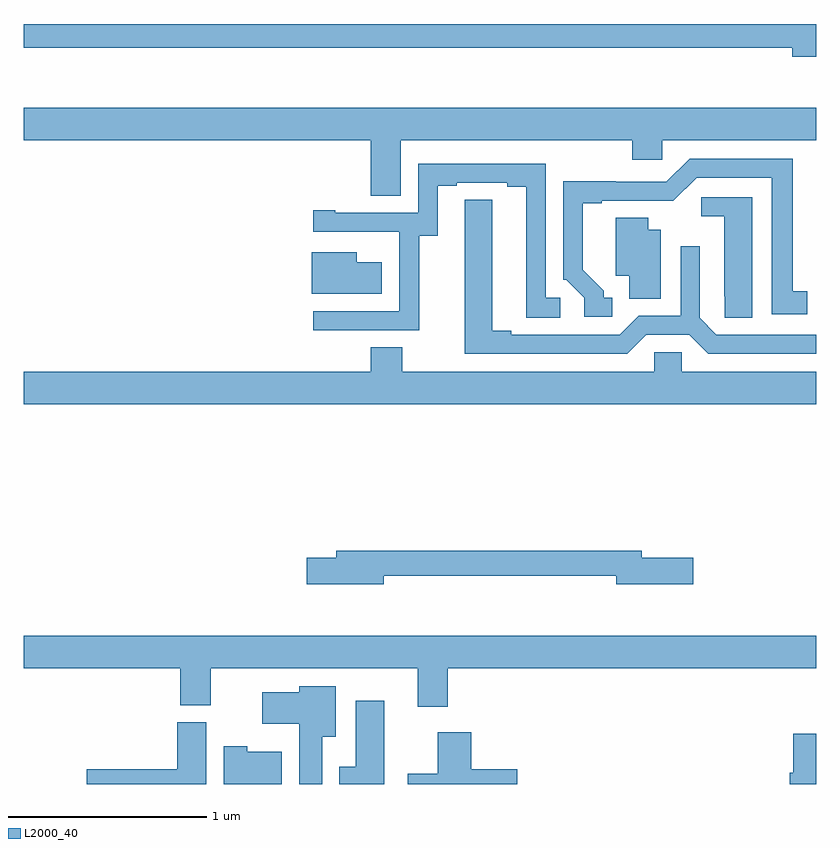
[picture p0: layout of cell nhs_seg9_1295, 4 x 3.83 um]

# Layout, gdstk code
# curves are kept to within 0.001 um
import gdstk
lib = gdstk.Library(unit=1e-6, precision=1e-09)
def P(c, l, *ps):  # polygons
    for p in ps: c.add(gdstk.Polygon(p, *l))
L2000_40 = (2000, 40)

nhs_seg9_1295 = lib.new_cell('nhs_seg9_1295')
P(nhs_seg9_1295, L2000_40, [(187,1202.335),(183,1202.335),(183,1202.214),(186.878,1202.214),(186.878,1202.171),(187,1202.171)],
  [(184.903,1201.748),(186.071,1201.748),(186.071,1201.65),(186.222,1201.65),(186.222,1201.748),(187,1201.748),(187,1201.912),(183,1201.912),(183,1201.748),(184.751,1201.748),(184.751,1201.468),(184.903,1201.468)],
  [(185.971,1200.954),(185.926,1200.954),(185.926,1200.989),(185.821,1201.094),(185.821,1201.431),(185.917,1201.431),(185.917,1201.443),(186.278,1201.442),(186.396,1201.56),(186.776,1201.56),(186.776,1200.87),(186.955,1200.87),(186.955,1200.986),(186.88,1200.986),(186.88,1201.656),(186.36,1201.656),(186.243,1201.539),(185.987,1201.539),(185.987,1201.541),(185.724,1201.541),(185.724,1201.044),(185.739,1201.044),(185.829,1200.954),(185.829,1200.858),(185.971,1200.858)],
  [(184.995,1201.267),(185.089,1201.267),(185.089,1201.518),(185.185,1201.518),(185.185,1201.533),(185.441,1201.533),(185.441,1201.513),(185.537,1201.513),(185.537,1200.853),(185.707,1200.853),(185.707,1200.954),(185.634,1200.954),(185.634,1201.629),(184.992,1201.629),(184.992,1201.383),(184.573,1201.383),(184.573,1201.396),(184.461,1201.396),(184.461,1201.287),(184.895,1201.287),(184.895,1201.286),(184.896,1201.286),(184.896,1200.885),(184.461,1200.885),(184.461,1200.789),(184.995,1200.789)],
  [(186.676,1201.461),(186.42,1201.461),(186.42,1201.364),(186.536,1201.364),(186.536,1200.961),(186.537,1200.961),(186.537,1200.853),(186.676,1200.853)],
  [(186.141,1200.768),(186.359,1200.768),(186.455,1200.672),(187,1200.672),(187,1200.768),(186.495,1200.768),(186.411,1200.852),(186.411,1201.213),(186.315,1201.213),(186.315,1200.864),(186.105,1200.864),(186.009,1200.768),(185.461,1200.768),(185.461,1200.788),(185.365,1200.788),(185.365,1201.448),(185.226,1201.448),(185.225,1200.672),(186.045,1200.672)],
  [(186.214,1201.297),(186.151,1201.297),(186.151,1201.358),(185.987,1201.358),(185.987,1201.064),(186.056,1201.064),(186.056,1200.949),(186.214,1200.949)],
  [(184.807,1201.132),(184.681,1201.132),(184.681,1201.183),(184.454,1201.183),(184.454,1200.974),(184.807,1200.974)],
  [(187,1200.58),(186.321,1200.58),(186.321,1200.678),(186.183,1200.678),(186.183,1200.58),(184.911,1200.58),(184.911,1200.704),(184.751,1200.704),(184.751,1200.58),(183,1200.58),(183,1200.416),(187,1200.416)],
  [(184.816,1199.55),(185.99,1199.55),(185.99,1199.507),(186.379,1199.507),(186.379,1199.642),(186.118,1199.642),(186.118,1199.678),(184.577,1199.678),(184.577,1199.642),(184.428,1199.642),(184.428,1199.507),(184.816,1199.507)],
  [(185.141,1199.084),(187,1199.084),(187,1199.248),(183,1199.248),(183,1199.084),(183.791,1199.084),(183.791,1198.897),(183.943,1198.897),(183.943,1199.084),(184.988,1199.084),(184.988,1198.89),(185.141,1198.89)],
  [(184.507,1198.739),(184.576,1198.739),(184.576,1198.993),(184.391,1198.993),(184.391,1198.963),(184.203,1198.963),(184.203,1198.805),(184.391,1198.805),(184.391,1198.5),(184.507,1198.5)],
  [(184.819,1198.921),(184.676,1198.921),(184.676,1198.588),(184.592,1198.588),(184.592,1198.5),(184.819,1198.5)],
  [(183.922,1198.812),(183.776,1198.812),(183.776,1198.574),(183.318,1198.574),(183.318,1198.5),(183.922,1198.5)],
  [(185.491,1198.574),(185.258,1198.574),(185.258,1198.762),(185.09,1198.762),(185.09,1198.551),(184.938,1198.551),(184.938,1198.5),(185.491,1198.5)],
  [(187,1198.753),(186.884,1198.753),(186.884,1198.557),(186.866,1198.557),(186.866,1198.5),(187,1198.5)],
  [(184.303,1198.663),(184.128,1198.663),(184.128,1198.69),(184.01,1198.69),(184.01,1198.5),(184.303,1198.5)])

lib.write_gds('nhs_seg9_1295.gds')
